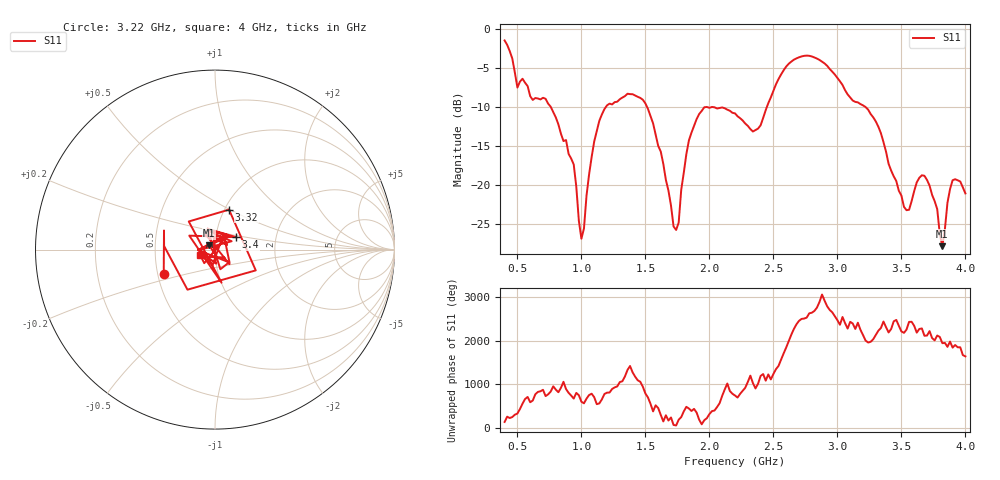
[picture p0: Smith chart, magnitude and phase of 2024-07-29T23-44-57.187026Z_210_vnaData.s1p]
!Created with skrf (http://scikit-rf.org).
# Hz S RI R 50.0
!freq ReS11 ImS11
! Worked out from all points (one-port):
!   181 points, 400 MHz to 4 GHz, reference 50 ohm
!   lowest |S11| = -27.9 dB at 3.82 GHz (marker M1), VSWR 1.08, Z = 46.8 + j2.22 ohm
!   |S11| at or under -10 dB: 760.4 MHz to 1.192 GHz (431.6 MHz wide, 44.2 % of centre); 1.512 GHz to 2.45 GHz (937.1 MHz wide, 47.3 % of centre); 3.218 GHz to end of sweep
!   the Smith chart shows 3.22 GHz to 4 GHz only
!   S11 on the Smith chart (normalised r, x): 3.22 GHz: 0.54, -0.16; 3.32 GHz: 1.05, +0.49; 3.4 GHz: 1.25, +0.18; 4 GHz: 0.85, -0.05
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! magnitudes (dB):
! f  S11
! 400 MHz  -1.5
! 500 MHz  -7.5
! 720 MHz  -9.0
! 860 MHz  -14.4
! 940 MHz  -17.4
! 1 GHz  -26.9
! 1.14 GHz  -11.8
! 1.3 GHz  -9.0
! 1.5 GHz  -9.6
! 1.62 GHz  -15.7
! 1.72 GHz  -25.3
! 1.76 GHz  -24.8
! 1.84 GHz  -14.3
! 1.92 GHz  -10.9
! 2.2 GHz  -10.8
! 2.38 GHz  -12.8
! 2.66 GHz  -4.0
! 2.86 GHz  -4.0
! 3.1 GHz  -8.8
! 3.22 GHz  -10.0
! 3.32 GHz  -12.5
! 3.4 GHz  -17.3
! 3.56 GHz  -23.2
! 3.68 GHz  -18.8
! 3.78 GHz  -23.1
! 3.82 GHz  -27.9
! 3.9 GHz  -19.4
! 4 GHz  -21.1
